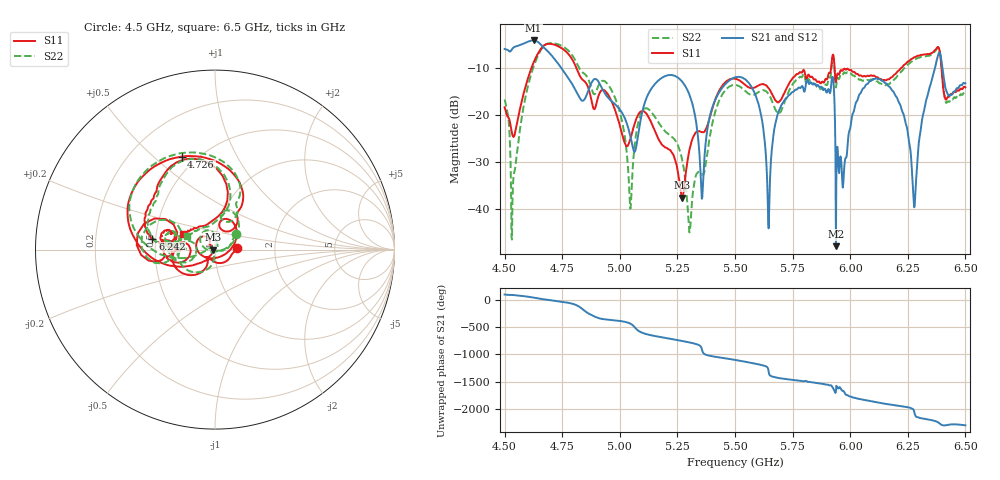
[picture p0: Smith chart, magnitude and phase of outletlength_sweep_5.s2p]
! TOUCHSTONE file generated by CST MICROWAVE STUDIO
! Date and time: Fri Nov 29 14:48:30 2024
! Project name: dual_circularly_polarized_waveguide_antenna.cst
! Parameters = {airCoaxOuterDiameter=3; chamferAngle=45; chamferWidth=24; connectorLength=10; drillingHoleDiameter=4.1; feedLength=60; flareDiameter=130; flareLength=70; gratingDistance=0; gratingGap=1.90274; outletLength=105; polarizerLength=134; probe1Diameter=1.3; probe1Distance=14.068; probe1Len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
! Header version: 2018
! Port assignment regex: !\s*Touchstone port\s*([0-9]+)\s*=\s*(CST MWS port|CST DS port)\s*([0-9]+|Zmin|Zmax)\s*\(\"(.*)\"\)(\s*mode\s*([0-9]+))?.*
! Touchstone port assignment:
! Touchstone port 1 = CST MWS port 1 ("Input1")
! Touchstone port 2 = CST MWS port 2 ("Input2")
# GHz S MA R 50
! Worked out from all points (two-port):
!   1001 points, 4.5 GHz to 6.5 GHz, reference 50 ohm
!   highest |S21| = -4.10 dB at 4.626 GHz (marker M1); lowest = -48.0 dB at 5.938 GHz (marker M2)
!   |S21| within 3 dB of the highest: start of sweep to 4.7 GHz; 6.382347 GHz to 6.391465 GHz (9.118 MHz wide, 0.143 % of centre)
!   lowest |S11| = -37.7 dB at 5.27 GHz (marker M3), VSWR 1.03, Z = 48.7 + j0.0418 ohm
!   |S11| at or under -10 dB: start of sweep to 4.616 GHz; 4.812 GHz to 5.917 GHz (1.105 GHz wide, 20.6 % of centre); 5.932 GHz to 6.22 GHz (287.7 MHz wide, 4.73 % of centre)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
!   |S22| runs from -46.6 to -4.7 dB; largest |S21 - S12| = 9.1e-06
!   S11 on the Smith chart (normalised r, x): 4.5 GHz: 1.27, +0.02; 4.726 GHz: 0.42, +0.62; 6.242 GHz: 0.48, +0.07; 6.5 GHz: 0.69, +0.13
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4.5  0.1204 3.7  0.5058 102.1  0.5058 102.1  0.1459 37.2
4.538  0.05824 -115.4  0.5231 93.1  0.5231 93.1  0.02088 140.5
4.626  0.3642 -174.0  0.6236 46.0  0.6236 46.0  0.3295 -177.8
4.726  0.5504 109.7  0.3694 -17.9  0.3694 -17.9  0.5733 111.8
4.834  0.2444 59.0  0.1427 -152.1  0.1427 -152.1  0.2912 65.5
4.978  0.1154 18.2  0.1311 -10.8  0.1311 -10.8  0.1551 34.9
5.046  0.05538 -120.1  0.05846 -72.9  0.05846 -72.9  0.009949 -88.4
5.168  0.05506 120.5  0.2336 46.9  0.2336 46.9  0.08295 92.8
5.27  0.01304 178.1  0.2276 -31.2  0.2276 -31.2  0.03368 65.3
5.302  0.04211 -127.8  0.1646 -58.2  0.1646 -58.2  0.005561 -37.2
5.358  0.06546 -138.6  0.01317 149.0  0.01317 149.0  0.02312 -133.7
5.5  0.2433 -166.2  0.2519 -19.3  0.2519 -19.3  0.2085 -165.1
5.598  0.2034 -178.0  0.1402 -97.3  0.1402 -97.3  0.1721 179.8
5.646  0.1925 168.4  0.006142 121.2  0.006142 121.2  0.1662 164.0
5.694  0.1401 -171.3  0.1152 3.8  0.1152 3.8  0.1052 -173.2
5.834  0.2559 171.0  0.2151 -72.9  0.2151 -72.9  0.2289 170.5
5.938  0.224 165.1  0.003966 123.8  0.003958 123.8  0.1963 163.7
6.168  0.2399 168.1  0.2008 -116.9  0.2008 -116.9  0.212 168.8
6.242  0.3535 170.3  0.07924 -164.1  0.07924 -164.1  0.3269 172.6
6.28  0.4145 160.2  0.01086 74.0  0.01086 74.0  0.3909 162.0
6.382  0.5311 109.1  0.439 -88.5  0.439 -88.5  0.5268 109.4
6.5  0.1969 153.6  0.2175 -142.4  0.2175 -142.4  0.1711 153.6
